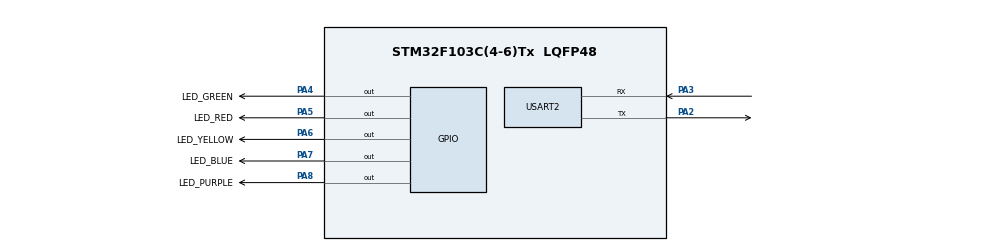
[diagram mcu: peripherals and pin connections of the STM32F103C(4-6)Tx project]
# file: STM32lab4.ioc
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Mcu.Family=STM32F1
Mcu.Name=STM32F103C(4-6)Tx
Mcu.Package=LQFP48
NVIC.PriorityGroup=NVIC_PRIORITYGROUP_4
NVIC.TIM2_IRQn=true\:0\:0\:false\:false\:true\:true\:true
PA13.Mode=Serial_Wire
PA13.Signal=SYS_JTMS-SWDIO
PA14.Mode=Serial_Wire
PA14.Signal=SYS_JTCK-SWCLK
PA2.Mode=Asynchronous
PA2.Signal=USART2_TX
PA3.Mode=Asynchronous
PA3.Signal=USART2_RX
PA4.GPIO_Label=LED_GREEN
PA4.Signal=GPIO_Output
PA5.GPIO_Label=LED_RED
PA5.Signal=GPIO_Output
PA6.GPIO_Label=LED_YELLOW
PA6.Signal=GPIO_Output
PA7.GPIO_Label=LED_BLUE
PA7.Signal=GPIO_Output
PA8.GPIO_Label=LED_PURPLE
PA8.Signal=GPIO_Output
ProjectManager.HeapSize=0x200
ProjectManager.StackSize=0x400
ProjectManager.TargetToolchain=STM32CubeIDE
RCC.APB1Freq_Value=8000000
RCC.APB2Freq_Value=8000000
TIM2.Period=9
TIM2.Prescaler=7999
USART2.VirtualMode=VM_ASYNC
VP_TIM2_VS_ClockSourceINT.Mode=Internal
board=custom

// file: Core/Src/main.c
/* USER CODE BEGIN Header */
/**
  ******************************************************************************
  * @file           : main.c
  * @brief          : Main program body
  ******************************************************************************
  * @attention
  *
  * <h2><center>&copy; Copyright (c) 2024 STMicroelectronics.
  * All rights reserved.</center></h2>
  *
  * This software component is licensed by ST under BSD 3-Clause license,
  * the "License"; You may not use this file except in compliance with the
  * License. You may obtain a copy of the License at:
  *                        opensource.org/licenses/BSD-3-Clause
  *
  ******************************************************************************
  */
/* USER CODE END Header */
#include "main.h"

/* USER CODE BEGIN Includes */
#include "scheduler.h"
#include "stdio.h"
#include "global.h"
/* USER CODE END Includes */

TIM_HandleTypeDef htim2;

UART_HandleTypeDef huart2;

void SystemClock_Config(void);
static void MX_GPIO_Init(void);
static void MX_TIM2_Init(void);
static void MX_USART2_UART_Init(void);

/* USER CODE BEGIN 0 */
int counter = 0;

/* USER CODE END 0 */

int main(void)
{

  /* MCU Configuration--------------------------------------------------------*/

  /* Reset of all peripherals, Initializes the Flash interface and the Systick. */
  HAL_Init();

  /* Configure the system clock */
  SystemClock_Config();

  /* Initialize all configured peripherals */
  MX_GPIO_Init();
  MX_TIM2_Init();
  MX_USART2_UART_Init();
  /* USER CODE BEGIN 2 */
  HAL_TIM_Base_Start_IT(&htim2);
  SCH_INIT();
  SCH_Add_Task(LEDREDBINKY, 0, 1000);
  SCH_Add_Task(LEDGREENBINKY, 0, 500);
  SCH_Add_Task(LEDYELLOWBINKY, 0, 1500);
  SCH_Add_Task(LEDBLUEBINKY, 0, 2000);
  SCH_Add_Task(LEDPURPLEBINKY, 0, 2500);

  /* USER CODE END 2 */

  /* Infinite loop */
  /* USER CODE BEGIN WHILE */
  while (1)
  {
	 SCH_Dispatch_Task();
    /* USER CODE END WHILE */

  }
}

void SystemClock_Config(void)
{
  RCC_OscInitTypeDef RCC_OscInitStruct = {0};
  RCC_ClkInitTypeDef RCC_ClkInitStruct = {0};

  /** Initializes the RCC Oscillators according to the specified parameters
  * in the RCC_OscInitTypeDef structure.
  */
  RCC_OscInitStruct.OscillatorType = RCC_OSCILLATORTYPE_HSI;
  RCC_OscInitStruct.HSIState = RCC_HSI_ON;
  RCC_OscInitStruct.HSICalibrationValue = RCC_HSICALIBRATION_DEFAULT;
  RCC_OscInitStruct.PLL.PLLState = RCC_PLL_NONE;
  if (HAL_RCC_OscConfig(&RCC_OscInitStruct) != HAL_OK)
  {
    Error_Handler();
  }
  /** Initializes the CPU, AHB and APB buses clocks
  */
  RCC_ClkInitStruct.ClockType = RCC_CLOCKTYPE_HCLK|RCC_CLOCKTYPE_SYSCLK
                              |RCC_CLOCKTYPE_PCLK1|RCC_CLOCKTYPE_PCLK2;
  RCC_ClkInitStruct.SYSCLKSource = RCC_SYSCLKSOURCE_HSI;
  RCC_ClkInitStruct.AHBCLKDivider = RCC_SYSCLK_DIV1;
  RCC_ClkInitStruct.APB1CLKDivider = RCC_HCLK_DIV1;
  RCC_ClkInitStruct.APB2CLKDivider = RCC_HCLK_DIV1;

  if (HAL_RCC_ClockConfig(&RCC_ClkInitStruct, FLASH_LATENCY_0) != HAL_OK)
  {
    Error_Handler();
  }
}

static void MX_TIM2_Init(void)
{

  TIM_ClockConfigTypeDef sClockSourceConfig = {0};
  TIM_MasterConfigTypeDef sMasterConfig = {0};

  htim2.Instance = TIM2;
  htim2.Init.Prescaler = 7999;
  htim2.Init.CounterMode = TIM_COUNTERMODE_UP;
  htim2.Init.Period = 9;
  htim2.Init.ClockDivision = TIM_CLOCKDIVISION_DIV1;
  htim2.Init.AutoReloadPreload = TIM_AUTORELOAD_PRELOAD_DISABLE;
  if (HAL_TIM_Base_Init(&htim2) != HAL_OK)
  {
    Error_Handler();
  }
  sClockSourceConfig.ClockSource = TIM_CLOCKSOURCE_INTERNAL;
  if (HAL_TIM_ConfigClockSource(&htim2, &sClockSourceConfig) != HAL_OK)
  {
    Error_Handler();
  }
  sMasterConfig.MasterOutputTrigger = TIM_TRGO_RESET;
  sMasterConfig.MasterSlaveMode = TIM_MASTERSLAVEMODE_DISABLE;
  if (HAL_TIMEx_MasterConfigSynchronization(&htim2, &sMasterConfig) != HAL_OK)
  {
    Error_Handler();
  }

}

static void MX_USART2_UART_Init(void)
{

  huart2.Instance = USART2;
  huart2.Init.BaudRate = 115200;
  huart2.Init.WordLength = UART_WORDLENGTH_8B;
  huart2.Init.StopBits = UART_STOPBITS_1;
  huart2.Init.Parity = UART_PARITY_NONE;
  huart2.Init.Mode = UART_MODE_TX_RX;
  huart2.Init.HwFlowCtl = UART_HWCONTROL_NONE;
  huart2.Init.OverSampling = UART_OVERSAMPLING_16;
  if (HAL_UART_Init(&huart2) != HAL_OK)
  {
    Error_Handler();
  }

}

static void MX_GPIO_Init(void)
{
  GPIO_InitTypeDef GPIO_InitStruct = {0};

  /* GPIO Ports Clock Enable */
  __HAL_RCC_GPIOA_CLK_ENABLE();

  /*Configure GPIO pin Output Level */
  HAL_GPIO_WritePin(GPIOA, LED_GREEN_Pin|LED_RED_Pin|LED_YELLOW_Pin|LED_BLUE_Pin
                          |LED_PURPLE_Pin, GPIO_PIN_RESET);

  /*Configure GPIO pins : LED_GREEN_Pin LED_RED_Pin LED_YELLOW_Pin LED_BLUE_Pin
                           LED_PURPLE_Pin */
  GPIO_InitStruct.Pin = LED_GREEN_Pin|LED_RED_Pin|LED_YELLOW_Pin|LED_BLUE_Pin
                          |LED_PURPLE_Pin;
  GPIO_InitStruct.Mode = GPIO_MODE_OUTPUT_PP;
  GPIO_InitStruct.Pull = GPIO_NOPULL;
  GPIO_InitStruct.Speed = GPIO_SPEED_FREQ_LOW;
  HAL_GPIO_Init(GPIOA, &GPIO_InitStruct);

}

/* USER CODE BEGIN 4 */
void HAL_TIM_PeriodElapsedCallback(TIM_HandleTypeDef *htim){
	 SCH_Update();
	 timerRun();
}
/* USER CODE END 4 */

void Error_Handler(void)
{
  __disable_irq();
  while (1)
  {
  }
}

/************************ (C) COPYRIGHT STMicroelectronics *****END OF FILE****/
